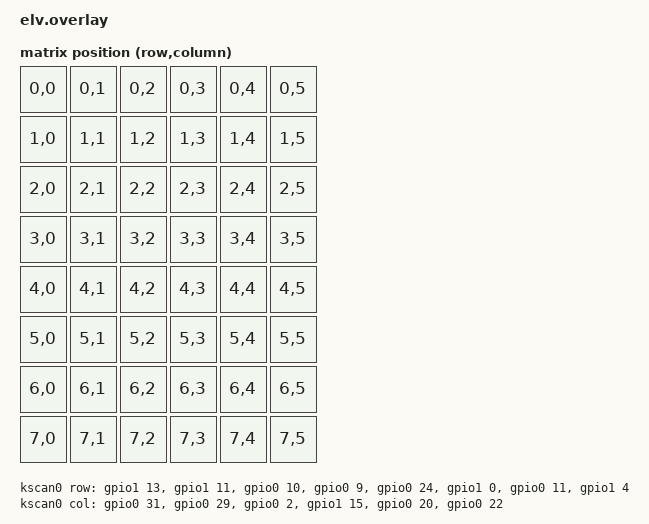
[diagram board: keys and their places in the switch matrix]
#include <dt-bindings/zmk/matrix_transform.h>

/ {
    chosen {
        zmk,kscan = &kscan0;
        zmk,matrix_transform = &default_transform;
        zephyr,display = &nice_view;
    };

    default_transform: keymap_transform_0 {
        compatible = "zmk,matrix-transform";
        columns = <6>;
        rows = <8>;
        map = <
            // Left side
            RC(0,0) RC(0,1) RC(0,2) RC(0,3) RC(0,4) RC(0,5)
            RC(1,0) RC(1,1) RC(1,2) RC(1,3) RC(1,4) RC(1,5)
            RC(2,0) RC(2,1) RC(2,2) RC(2,3) RC(2,4) RC(2,5)
            RC(3,0) RC(3,1) RC(3,2) RC(3,3) RC(3,4) RC(3,5)
            // Right side
            RC(4,0) RC(4,1) RC(4,2) RC(4,3) RC(4,4) RC(4,5)
            RC(5,0) RC(5,1) RC(5,2) RC(5,3) RC(5,4) RC(5,5)
            RC(6,0) RC(6,1) RC(6,2) RC(6,3) RC(6,4) RC(6,5)
            RC(7,0) RC(7,1) RC(7,2) RC(7,3) RC(7,4) RC(7,5)
        >;
    };

    kscan0: kscan {
        compatible = "zmk,kscan-gpio-matrix";
        diode-direction = "col2row";
        wakeup-source;

        row-gpios
            // Left side rows
            = <&gpio1 13 (GPIO_ACTIVE_HIGH | GPIO_PULL_DOWN)>  // Row 0 (left top)
            , <&gpio1 11 (GPIO_ACTIVE_HIGH | GPIO_PULL_DOWN)>  // Row 1 (left middle)
            , <&gpio0 10 (GPIO_ACTIVE_HIGH | GPIO_PULL_DOWN)>  // Row 2 (left bottom)
            , <&gpio0 9  (GPIO_ACTIVE_HIGH | GPIO_PULL_DOWN)>  // Row 3 (left thumb)
            // Right side rows
            , <&gpio0 24 (GPIO_ACTIVE_HIGH | GPIO_PULL_DOWN)>  // Row 4 (right top)
            , <&gpio1 0  (GPIO_ACTIVE_HIGH | GPIO_PULL_DOWN)>  // Row 5 (right middle)
            , <&gpio0 11 (GPIO_ACTIVE_HIGH | GPIO_PULL_DOWN)>  // Row 6 (right bottom)
            , <&gpio1 4  (GPIO_ACTIVE_HIGH | GPIO_PULL_DOWN)>  // Row 7 (right thumb)
            ;

        col-gpios
            = <&gpio0 31 GPIO_ACTIVE_HIGH>  // Col 0 (outer)
            , <&gpio0 29 GPIO_ACTIVE_HIGH>  // Col 1 (pinky)
            , <&gpio0 2  GPIO_ACTIVE_HIGH>  // Col 2 (ring)
            , <&gpio1 15 GPIO_ACTIVE_HIGH>  // Col 3 (middle)
            , <&gpio0 20 GPIO_ACTIVE_HIGH>  // Col 4 (index)
            , <&gpio0 22 GPIO_ACTIVE_HIGH>  // Col 5 (inner)
            ;
    };
};

nice_view_spi: &spi0 {
    compatible = "nordic,nrf-spim";
    pinctrl-0 = <&spi0_default>;
    pinctrl-1 = <&spi0_sleep>;
    pinctrl-names = "default", "sleep";
    cs-gpios = <&gpio0 17 GPIO_ACTIVE_HIGH>;
};

&pinctrl {
    spi0_default: spi0_default {
        group1 {
            psels = <NRF_PSEL(SPIM_SCK, 0, 8)>,
                   <NRF_PSEL(SPIM_MOSI, 0, 6)>,
                   <NRF_PSEL(SPIM_MISO, 0, 23)>;
        };
    };

    spi0_sleep: spi0_sleep {
        group1 {
            psels = <NRF_PSEL(SPIM_SCK, 0, 8)>,
                   <NRF_PSEL(SPIM_MOSI, 0, 6)>,
                   <NRF_PSEL(SPIM_MISO, 0, 23)>;
            low-power-enable;
        };
    };
};

&nice_view_spi {
    status = "okay";
    nice_view: ls0xx@0 {
        compatible = "sharp,ls0xx";
        spi-max-frequency = <1000000>;
        reg = <0>;
        width = <160>;
        height = <68>;
    };
};

&i2c0 {
    status = "disabled";
};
